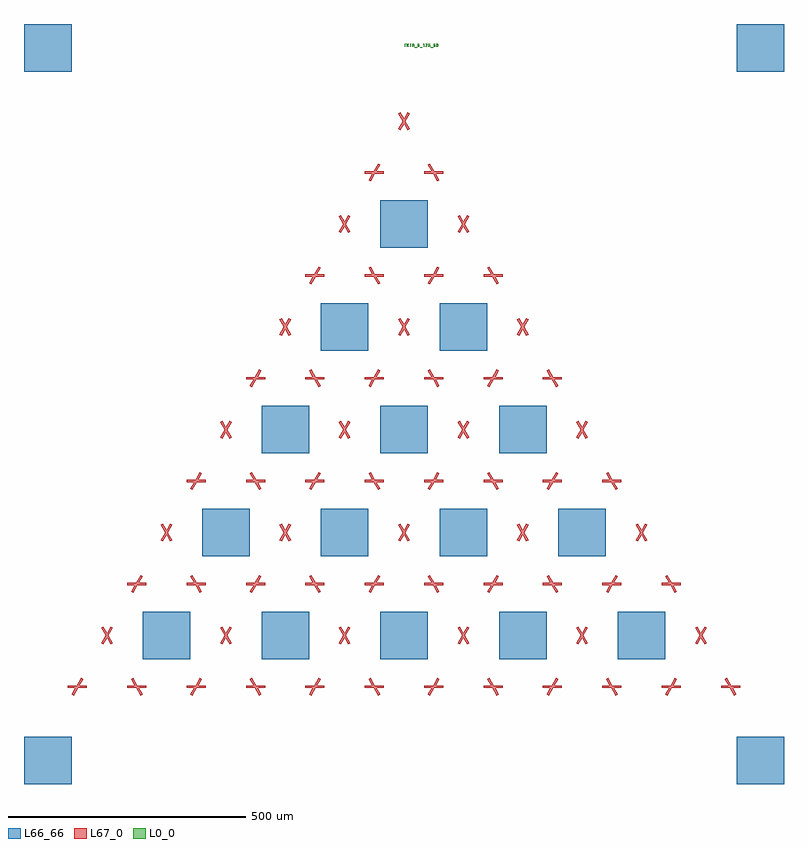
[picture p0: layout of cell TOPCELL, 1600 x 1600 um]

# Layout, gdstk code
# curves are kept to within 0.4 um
from math import pi, radians
import gdstk
lib = gdstk.Library(unit=1e-6, precision=1e-09)
def R(c, l, rs):  # rectangles x0, y0, x1, y1
    for r in rs: c.add(gdstk.rectangle(r[:2], r[2:], *l))
def P(c, l, *ps):  # polygons
    for p in ps: c.add(gdstk.Polygon(p, *l))
L0_0 = (0, 0)
L66_66 = (66, 66)
L67_0 = (67, 0)

nanoscribe_print_zone = lib.new_cell('nanoscribe_print_zone')
R(nanoscribe_print_zone, L66_66, [(-50,-50,50,50)])

cross_20_80 = lib.new_cell('cross_20_80')
P(cross_20_80, L66_66, [(-10,-40),(-10,-10),(-40,-10),(-40,10),(-10,10),(-10,40),(10,40),(10,10),(40,10),(40,-10),(10,-10),(10,-40)])
cross_20_80.add(gdstk.Reference(nanoscribe_print_zone, (0,0)))

tkta_5_125_50 = lib.new_cell('TKTA_5_125_50')
R(tkta_5_125_50, L0_0, [(772.5,1500,777.5,1500.625), (783.75,1500,788.75,1500.625), (806.25,1500,811.25,1500.625), (819.375,1505,820,1505.625)])
P(tkta_5_125_50, L0_0, [(751.875,1501.875),(751.875,1508.125),(750.625,1508.125),(750.625,1508.75),(754.375,1508.75),(754.375,1508.125),(753.125,1508.125),(753.125,1501.875)],
  [(755.625,1501.875),(755.625,1508.75),(756.875,1508.75),(756.875,1505.625),(757.5,1505.625),(757.5,1506.25),(758.125,1506.25),(758.125,1507.5),(758.75,1507.5),(758.75,1508.75),(760,1508.75),(760,1507.5),(759.375,1507.5),(759.375,1506.25),(758.75,1506.25),(758.75,1505.625),(758.125,1505.625),(758.125,1505),(758.75,1505),(758.75,1504.375),(759.375,1504.375),(759.375,1503.125),(760,1503.125),(760,1501.875),(758.75,1501.875),(758.75,1503.125),(758.125,1503.125),(758.125,1504.375),(757.5,1504.375),(757.5,1505),(756.875,1505),(756.875,1501.875)],
  [(763.125,1501.875),(763.125,1508.125),(761.875,1508.125),(761.875,1508.75),(765.625,1508.75),(765.625,1508.125),(764.375,1508.125),(764.375,1501.875)],
  [(767.5,1501.875),(767.5,1505.625),(768.75,1505.625),(770,1505.625),(770,1507.5),(768.75,1507.5),(768.75,1505.625),(767.5,1505.625),(767.5,1507.5),(768.125,1507.5),(768.125,1508.125),(768.75,1508.125),(768.75,1508.75),(770,1508.75),(770,1508.125),(770.625,1508.125),(770.625,1507.5),(771.25,1507.5),(771.25,1501.875),(770,1501.875),(770,1505),(768.75,1505),(768.75,1501.875)],
  [(779.375,1501.875),(779.375,1502.5),(778.75,1502.5),(778.75,1503.75),(780,1503.75),(780,1502.5),(781.25,1502.5),(781.25,1505.625),(778.75,1505.625),(778.75,1508.75),(782.5,1508.75),(782.5,1508.125),(780,1508.125),(780,1506.25),(781.875,1506.25),(781.875,1505.625),(782.5,1505.625),(782.5,1502.5),(781.875,1502.5),(781.875,1501.875)],
  [(790,1501.875),(790,1502.5),(791.25,1502.5),(791.25,1506.875),(790,1506.875),(790,1507.5),(790.625,1507.5),(790.625,1508.125),(791.25,1508.125),(791.25,1508.75),(792.5,1508.75),(792.5,1502.5),(793.75,1502.5),(793.75,1501.875)],
  [(795.625,1501.875),(795.625,1503.75),(796.25,1503.75),(796.25,1504.375),(796.875,1504.375),(796.875,1505),(797.5,1505),(797.5,1505.625),(798.125,1505.625),(798.125,1508.125),(796.875,1508.125),(796.875,1506.875),(795.625,1506.875),(795.625,1508.125),(796.25,1508.125),(796.25,1508.75),(798.75,1508.75),(798.75,1508.125),(799.375,1508.125),(799.375,1505.625),(798.75,1505.625),(798.75,1505),(798.125,1505),(798.125,1504.375),(797.5,1504.375),(797.5,1503.75),(796.875,1503.75),(796.875,1502.5),(799.375,1502.5),(799.375,1501.875)],
  [(801.875,1501.875),(801.875,1502.5),(801.25,1502.5),(801.25,1503.75),(802.5,1503.75),(802.5,1502.5),(803.75,1502.5),(803.75,1505.625),(801.25,1505.625),(801.25,1508.75),(805,1508.75),(805,1508.125),(802.5,1508.125),(802.5,1506.25),(804.375,1506.25),(804.375,1505.625),(805,1505.625),(805,1502.5),(804.375,1502.5),(804.375,1501.875)],
  [(813.125,1501.875),(813.125,1502.5),(812.5,1502.5),(812.5,1503.75),(813.75,1503.75),(813.75,1502.5),(815,1502.5),(815,1505.625),(812.5,1505.625),(812.5,1508.75),(816.25,1508.75),(816.25,1508.125),(813.75,1508.125),(813.75,1506.25),(815.625,1506.25),(815.625,1505.625),(816.25,1505.625),(816.25,1502.5),(815.625,1502.5),(815.625,1501.875)],
  [(818.75,1501.875),(818.75,1502.5),(818.125,1502.5),(818.125,1503.125),(817.5,1503.125),(818.75,1503.125),(819.375,1503.125),(819.375,1502.5),(820,1502.5),(820,1503.125),(820.625,1503.125),(820.625,1505.625),(820,1505.625),(820,1506.25),(820.625,1506.25),(820.625,1507.5),(820,1507.5),(820,1508.125),(819.375,1508.125),(819.375,1507.5),(818.75,1507.5),(818.75,1505),(819.375,1505),(819.375,1504.375),(818.75,1504.375),(818.75,1503.125),(817.5,1503.125),(817.5,1507.5),(818.125,1507.5),(818.125,1508.125),(818.75,1508.125),(818.75,1508.75),(820.625,1508.75),(820.625,1508.125),(821.25,1508.125),(821.25,1507.5),(821.875,1507.5),(821.875,1503.125),(821.25,1503.125),(821.25,1502.5),(820.625,1502.5),(820.625,1501.875)])
r = gdstk.Reference(cross_20_80, (0,0)); r.repetition = gdstk.Repetition(2, 2, v1=(1500,0), v2=(0,1500)); tkta_5_125_50.add(r)

tip = lib.new_cell('tip')
P(tip, L66_66, [(0,-25),(-4.188,-24.647),(-9.567,-23.097),(-14.467,-20.389),(-17.678,-17.678),(-20.389,-14.467),(-23.097,-9.567),(-24.647,-4.188),(-25,0),(-24.647,4.188),(-23.097,9.567),(-20.389,14.467),(-17.678,17.678),(-14.467,20.389),(-9.567,23.097),(-4.188,24.647),(0,25),(4.188,24.647),(9.567,23.097),(14.467,20.389),(17.678,17.678),(20.389,14.467),(23.097,9.567),(24.647,4.188),(25,0),(24.647,-4.188),(23.097,-9.567),(20.389,-14.467),(17.678,-17.678),(14.467,-20.389),(9.567,-23.097),(4.188,-24.647)])
tip.add(gdstk.Reference(nanoscribe_print_zone, (0,0)))

tip_array = lib.new_cell('tip_array')
tip_array.add(gdstk.Reference(tip, (0,0)))
tip_array.add(gdstk.Reference(tip, (250,0)))
tip_array.add(gdstk.Reference(tip, (500,0)))
tip_array.add(gdstk.Reference(tip, (750,0)))
tip_array.add(gdstk.Reference(tip, (1000,0)))
tip_array.add(gdstk.Reference(tip, (125,216.506)))
tip_array.add(gdstk.Reference(tip, (375,216.506)))
tip_array.add(gdstk.Reference(tip, (625,216.506)))
tip_array.add(gdstk.Reference(tip, (875,216.506)))
tip_array.add(gdstk.Reference(tip, (250,433.013)))
tip_array.add(gdstk.Reference(tip, (500,433.013)))
tip_array.add(gdstk.Reference(tip, (750,433.013)))
tip_array.add(gdstk.Reference(tip, (375,649.519)))
tip_array.add(gdstk.Reference(tip, (625,649.519)))
tip_array.add(gdstk.Reference(tip, (500,866.025)))

kagome_40_5 = lib.new_cell('Kagome_40_5')
P(kagome_40_5, L67_0, [(-7.835,-18.571),(-12.165,-16.071),(-2.887,0),(-12.165,16.071),(-7.835,18.571),(0,5),(7.835,18.571),(12.165,16.071),(2.887,0),(12.165,-16.071),(7.835,-18.571),(0,-5)])

dicing_marks = lib.new_cell('Dicing_marks')
dicing_marks.add(gdstk.Reference(kagome_40_5, (-187.5,-108.253), rotation=radians(300)))
dicing_marks.add(gdstk.Reference(kagome_40_5, (-62.5,-108.253), rotation=radians(60)))
dicing_marks.add(gdstk.Reference(kagome_40_5, (-125,0)))
dicing_marks.add(gdstk.Reference(kagome_40_5, (62.5,-108.253), rotation=radians(300)))
dicing_marks.add(gdstk.Reference(kagome_40_5, (187.5,-108.253), rotation=radians(60)))
dicing_marks.add(gdstk.Reference(kagome_40_5, (125,0)))
dicing_marks.add(gdstk.Reference(kagome_40_5, (312.5,-108.253), rotation=radians(300)))
dicing_marks.add(gdstk.Reference(kagome_40_5, (437.5,-108.253), rotation=radians(60)))
dicing_marks.add(gdstk.Reference(kagome_40_5, (375,0)))
dicing_marks.add(gdstk.Reference(kagome_40_5, (562.5,-108.253), rotation=radians(300)))
dicing_marks.add(gdstk.Reference(kagome_40_5, (687.5,-108.253), rotation=radians(60)))
dicing_marks.add(gdstk.Reference(kagome_40_5, (625,0)))
dicing_marks.add(gdstk.Reference(kagome_40_5, (812.5,-108.253), rotation=radians(300)))
dicing_marks.add(gdstk.Reference(kagome_40_5, (937.5,-108.253), rotation=radians(60)))
dicing_marks.add(gdstk.Reference(kagome_40_5, (875,0)))
dicing_marks.add(gdstk.Reference(kagome_40_5, (1062.5,-108.253), rotation=radians(300)))
dicing_marks.add(gdstk.Reference(kagome_40_5, (1187.5,-108.253), rotation=radians(60)))
dicing_marks.add(gdstk.Reference(kagome_40_5, (1125,0)))
dicing_marks.add(gdstk.Reference(kagome_40_5, (-62.5,108.253), rotation=radians(300)))
dicing_marks.add(gdstk.Reference(kagome_40_5, (62.5,108.253), rotation=radians(60)))
dicing_marks.add(gdstk.Reference(kagome_40_5, (0,216.506)))
dicing_marks.add(gdstk.Reference(kagome_40_5, (187.5,108.253), rotation=radians(300)))
dicing_marks.add(gdstk.Reference(kagome_40_5, (312.5,108.253), rotation=radians(60)))
dicing_marks.add(gdstk.Reference(kagome_40_5, (250,216.506)))
dicing_marks.add(gdstk.Reference(kagome_40_5, (437.5,108.253), rotation=radians(300)))
dicing_marks.add(gdstk.Reference(kagome_40_5, (562.5,108.253), rotation=radians(60)))
dicing_marks.add(gdstk.Reference(kagome_40_5, (500,216.506)))
dicing_marks.add(gdstk.Reference(kagome_40_5, (687.5,108.253), rotation=radians(300)))
dicing_marks.add(gdstk.Reference(kagome_40_5, (812.5,108.253), rotation=radians(60)))
dicing_marks.add(gdstk.Reference(kagome_40_5, (750,216.506)))
dicing_marks.add(gdstk.Reference(kagome_40_5, (937.5,108.253), rotation=radians(300)))
dicing_marks.add(gdstk.Reference(kagome_40_5, (1062.5,108.253), rotation=radians(60)))
dicing_marks.add(gdstk.Reference(kagome_40_5, (1000,216.506)))
dicing_marks.add(gdstk.Reference(kagome_40_5, (62.5,324.76), rotation=radians(300)))
dicing_marks.add(gdstk.Reference(kagome_40_5, (187.5,324.76), rotation=radians(60)))
dicing_marks.add(gdstk.Reference(kagome_40_5, (125,433.013)))
dicing_marks.add(gdstk.Reference(kagome_40_5, (312.5,324.76), rotation=radians(300)))
dicing_marks.add(gdstk.Reference(kagome_40_5, (437.5,324.76), rotation=radians(60)))
dicing_marks.add(gdstk.Reference(kagome_40_5, (375,433.013)))
dicing_marks.add(gdstk.Reference(kagome_40_5, (562.5,324.76), rotation=radians(300)))
dicing_marks.add(gdstk.Reference(kagome_40_5, (687.5,324.76), rotation=radians(60)))
dicing_marks.add(gdstk.Reference(kagome_40_5, (625,433.013)))
dicing_marks.add(gdstk.Reference(kagome_40_5, (812.5,324.76), rotation=radians(300)))
dicing_marks.add(gdstk.Reference(kagome_40_5, (937.5,324.76), rotation=radians(60)))
dicing_marks.add(gdstk.Reference(kagome_40_5, (875,433.013)))
dicing_marks.add(gdstk.Reference(kagome_40_5, (187.5,541.266), rotation=radians(300)))
dicing_marks.add(gdstk.Reference(kagome_40_5, (312.5,541.266), rotation=radians(60)))
dicing_marks.add(gdstk.Reference(kagome_40_5, (250,649.519)))
dicing_marks.add(gdstk.Reference(kagome_40_5, (437.5,541.266), rotation=radians(300)))
dicing_marks.add(gdstk.Reference(kagome_40_5, (562.5,541.266), rotation=radians(60)))
dicing_marks.add(gdstk.Reference(kagome_40_5, (500,649.519)))
dicing_marks.add(gdstk.Reference(kagome_40_5, (687.5,541.266), rotation=radians(300)))
dicing_marks.add(gdstk.Reference(kagome_40_5, (812.5,541.266), rotation=radians(60)))
dicing_marks.add(gdstk.Reference(kagome_40_5, (750,649.519)))
dicing_marks.add(gdstk.Reference(kagome_40_5, (312.5,757.772), rotation=radians(300)))
dicing_marks.add(gdstk.Reference(kagome_40_5, (437.5,757.772), rotation=radians(60)))
dicing_marks.add(gdstk.Reference(kagome_40_5, (375,866.025)))
dicing_marks.add(gdstk.Reference(kagome_40_5, (562.5,757.772), rotation=radians(300)))
dicing_marks.add(gdstk.Reference(kagome_40_5, (687.5,757.772), rotation=radians(60)))
dicing_marks.add(gdstk.Reference(kagome_40_5, (625,866.025)))
dicing_marks.add(gdstk.Reference(kagome_40_5, (437.5,974.279), rotation=radians(300)))
dicing_marks.add(gdstk.Reference(kagome_40_5, (562.5,974.279), rotation=radians(60)))
dicing_marks.add(gdstk.Reference(kagome_40_5, (500,1082.532)))

tip_pattern = lib.new_cell('Tip_Pattern')
tip_pattern.add(gdstk.Reference(tip_array, (0,0)))
tip_pattern.add(gdstk.Reference(dicing_marks, (0,0)))

topcell = lib.new_cell('TOPCELL')
topcell.add(gdstk.Reference(tkta_5_125_50, (0,0)))
topcell.add(gdstk.Reference(tip_pattern, (250,262.861)))

lib.write_gds('TOPCELL.gds')
